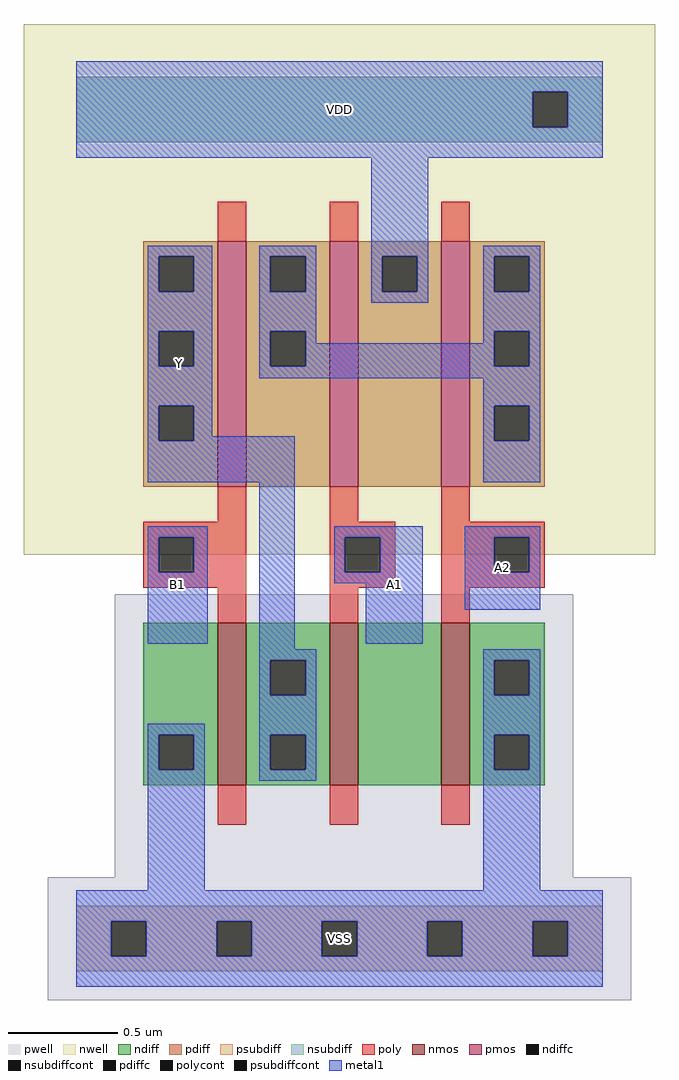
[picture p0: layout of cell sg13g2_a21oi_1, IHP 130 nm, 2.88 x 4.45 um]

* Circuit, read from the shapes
.subckt sg13g2_a21oi_1 VDD VSS A2 A1 B1 Y
XM1 Y B1 VSS VSS sg13_lv_nmos w=0.74u l=0.13u
XM2 n1 A1 Y VSS sg13_lv_nmos w=0.74u l=0.13u
XM3 VSS A2 n1 VSS sg13_lv_nmos w=0.74u l=0.13u
XM4 n2 B1 Y VDD sg13_lv_pmos w=1.12u l=0.13u
XM5 VDD A1 n2 VDD sg13_lv_pmos w=1.12u l=0.13u
XM6 n2 A2 VDD VDD sg13_lv_pmos w=1.12u l=0.13u
.ends

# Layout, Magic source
magic
tech ihp-sg13g2
magscale 1 2
<< nwell >>
rect -48 350 528 834
<< pwell >>
rect 35 56 453 314
rect -26 -56 506 56
<< nmos >>
rect 129 140 155 288
rect 231 140 257 288
rect 333 140 359 288
<< pmos >>
rect 129 412 155 636
rect 231 412 257 636
rect 333 412 359 636
<< ndiff >>
rect 61 186 129 288
rect 61 154 75 186
rect 107 154 129 186
rect 61 140 129 154
rect 155 254 231 288
rect 155 222 177 254
rect 209 222 231 254
rect 155 186 231 222
rect 155 154 177 186
rect 209 154 231 186
rect 155 140 231 154
rect 257 140 333 288
rect 359 254 427 288
rect 359 222 381 254
rect 413 222 427 254
rect 359 186 427 222
rect 359 154 381 186
rect 413 154 427 186
rect 359 140 427 154
<< pdiff >>
rect 61 622 129 636
rect 61 590 75 622
rect 107 590 129 622
rect 61 554 129 590
rect 61 522 75 554
rect 107 522 129 554
rect 61 486 129 522
rect 61 454 75 486
rect 107 454 129 486
rect 61 412 129 454
rect 155 622 231 636
rect 155 590 177 622
rect 209 590 231 622
rect 155 554 231 590
rect 155 522 177 554
rect 209 522 231 554
rect 155 412 231 522
rect 257 622 333 636
rect 257 590 279 622
rect 311 590 333 622
rect 257 412 333 590
rect 359 622 427 636
rect 359 590 381 622
rect 413 590 427 622
rect 359 554 427 590
rect 359 522 381 554
rect 413 522 427 554
rect 359 486 427 522
rect 359 454 381 486
rect 413 454 427 486
rect 359 412 427 454
<< ndiffc >>
rect 75 154 107 186
rect 177 222 209 254
rect 177 154 209 186
rect 381 222 413 254
rect 381 154 413 186
<< pdiffc >>
rect 75 590 107 622
rect 75 522 107 554
rect 75 454 107 486
rect 177 590 209 622
rect 177 522 209 554
rect 279 590 311 622
rect 381 590 413 622
rect 381 522 413 554
rect 381 454 413 486
<< psubdiff >>
rect 0 16 480 30
rect 0 -16 32 16
rect 64 -16 128 16
rect 160 -16 224 16
rect 256 -16 320 16
rect 352 -16 416 16
rect 448 -16 480 16
rect 0 -30 480 -16
<< nsubdiff >>
rect 0 772 480 786
rect 0 740 416 772
rect 448 740 480 772
rect 0 726 480 740
<< psubdiffcont >>
rect 32 -16 64 16
rect 128 -16 160 16
rect 224 -16 256 16
rect 320 -16 352 16
rect 416 -16 448 16
<< nsubdiffcont >>
rect 416 740 448 772
<< poly >>
rect 129 636 155 672
rect 231 636 257 672
rect 333 636 359 672
rect 129 380 155 412
rect 61 366 155 380
rect 61 334 75 366
rect 107 334 155 366
rect 61 320 155 334
rect 129 288 155 320
rect 231 380 257 412
rect 333 380 359 412
rect 231 366 291 380
rect 231 334 245 366
rect 277 334 291 366
rect 231 320 291 334
rect 333 366 427 380
rect 333 334 381 366
rect 413 334 427 366
rect 333 320 427 334
rect 231 288 257 320
rect 333 288 359 320
rect 129 104 155 140
rect 231 104 257 140
rect 333 104 359 140
<< polycont >>
rect 75 334 107 366
rect 245 334 277 366
rect 381 334 413 366
<< metal1 >>
rect 0 772 480 800
rect 0 740 416 772
rect 448 740 480 772
rect 0 712 480 740
rect 65 622 124 632
rect 65 590 75 622
rect 107 590 124 622
rect 65 554 124 590
rect 65 522 75 554
rect 107 522 124 554
rect 65 486 124 522
rect 167 622 219 632
rect 167 590 177 622
rect 209 590 219 622
rect 167 554 219 590
rect 269 622 321 712
rect 269 590 279 622
rect 311 590 321 622
rect 269 580 321 590
rect 371 622 423 632
rect 371 590 381 622
rect 413 590 423 622
rect 167 522 177 554
rect 209 543 219 554
rect 371 554 423 590
rect 371 543 381 554
rect 209 522 381 543
rect 413 522 423 554
rect 167 511 423 522
rect 65 454 75 486
rect 107 458 124 486
rect 371 486 423 511
rect 107 454 199 458
rect 65 416 199 454
rect 371 454 381 486
rect 413 454 423 486
rect 371 416 423 454
rect 65 366 120 376
rect 65 334 75 366
rect 107 334 120 366
rect 65 269 120 334
rect 167 264 199 416
rect 235 366 316 376
rect 235 334 245 366
rect 277 334 316 366
rect 235 324 316 334
rect 264 269 316 324
rect 354 366 423 376
rect 354 334 381 366
rect 413 334 423 366
rect 354 300 423 334
rect 167 254 219 264
rect 167 222 177 254
rect 209 222 219 254
rect 65 186 117 196
rect 65 154 75 186
rect 107 154 117 186
rect 65 44 117 154
rect 167 186 219 222
rect 167 154 177 186
rect 209 154 219 186
rect 167 144 219 154
rect 371 254 423 264
rect 371 222 381 254
rect 413 222 423 254
rect 371 186 423 222
rect 371 154 381 186
rect 413 154 423 186
rect 371 44 423 154
rect 0 16 480 44
rect 0 -16 32 16
rect 64 -16 128 16
rect 160 -16 224 16
rect 256 -16 320 16
rect 352 -16 416 16
rect 448 -16 480 16
rect 0 -44 480 -16
<< labels >>
flabel metal1 s 0 712 480 800 0 FreeSans 400 0 0 0 VDD
port 2 nsew
flabel metal1 s 0 -44 480 44 0 FreeSans 400 0 0 0 VSS
port 3 nsew
flabel metal1 s 354 300 423 376 0 FreeSans 400 0 0 0 A2
port 4 nsew
flabel metal1 s 264 269 316 376 0 FreeSans 400 0 0 0 A1
port 5 nsew
flabel metal1 s 65 269 120 376 0 FreeSans 400 0 0 0 B1
port 6 nsew
flabel metal1 s 65 416 124 632 0 FreeSans 400 0 0 0 Y
port 7 nsew
<< properties >>
string FIXED_BBOX 0 0 480 756
string GDS_END 159078
string GDS_FILE 6_final.gds
string GDS_START 155362
<< end >>
